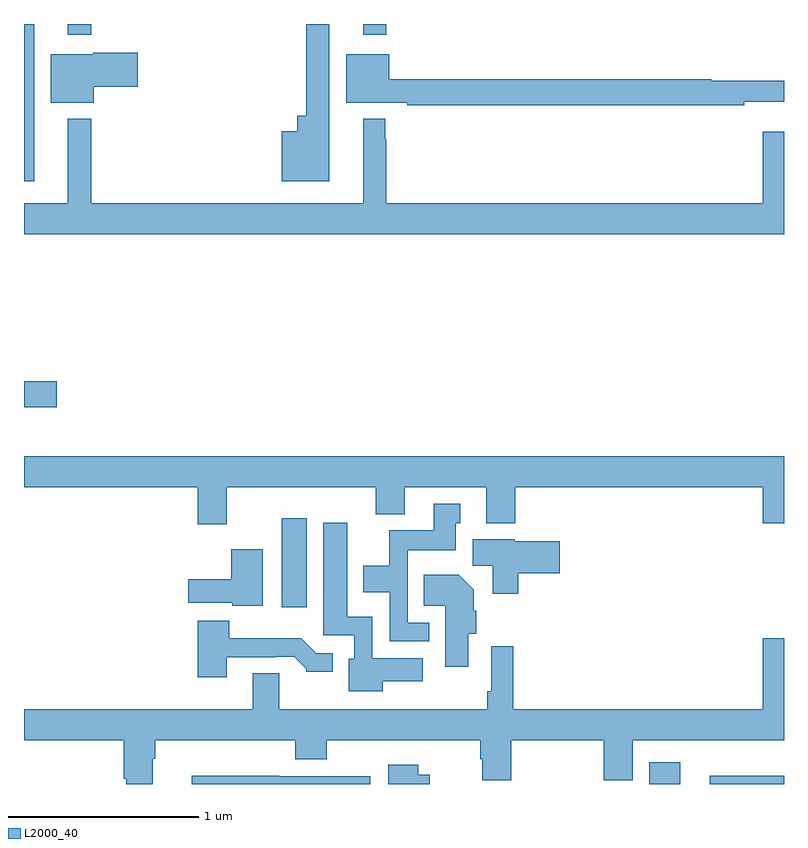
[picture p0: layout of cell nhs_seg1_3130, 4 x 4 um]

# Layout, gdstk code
import gdstk
lib = gdstk.Library(unit=1e-6, precision=1e-09)
def R(c, l, rs):  # rectangles x0, y0, x1, y1
    for r in rs: c.add(gdstk.rectangle(r[:2], r[2:], *l))
def P(c, l, *ps):  # polygons
    for p in ps: c.add(gdstk.Polygon(p, *l))
L2000_40 = (2000, 40)

nhs_seg1_3130 = lib.new_cell('nhs_seg1_3130')
R(nhs_seg1_3130, L2000_40, [(284.292,522.199,284.453,522.313), (284.61,522.199,285,522.242), (282.356,523.128,282.487,523.597), (281,524.183,281.173,524.318), (281,525.371,281.053,526.199), (281.231,526.143,281.353,526.199), (282.785,526.143,282.907,526.199)])
P(nhs_seg1_3130, L2000_40, [(282.607,526.199),(282.486,526.199),(282.486,525.715),(282.437,525.715),(282.437,525.634),(282.356,525.634),(282.356,525.371),(282.607,525.371)],
  [(281.368,525.869),(281.599,525.869),(281.599,526.047),(281.364,526.047),(281.364,526.039),(281.141,526.039),(281.141,525.785),(281.368,525.785)],
  [(284.792,525.791),(285,525.791),(285,525.901),(284.618,525.901),(284.618,525.908),(282.922,525.908),(282.922,526.039),(282.695,526.039),(282.695,525.785),(283.018,525.785),(283.018,525.772),(284.792,525.772)],
  [(285,525.631),(284.888,525.631),(284.888,525.256),(282.907,525.256),(282.907,525.593),(282.9,525.593),(282.9,525.7),(282.785,525.7),(282.785,525.256),(281.353,525.256),(281.353,525.7),(281.231,525.7),(281.231,525.256),(281,525.256),(281,525.092),(285,525.092)],
  [(282.067,523.76),(282.851,523.76),(282.851,523.619),(283.003,523.619),(283.003,523.76),(283.433,523.76),(283.433,523.571),(283.586,523.571),(283.586,523.76),(284.888,523.76),(284.888,523.572),(285,523.572),(285,523.924),(281,523.924),(281,523.76),(281.915,523.76),(281.915,523.566),(282.067,523.566)],
  [(283.132,523.047),(283.02,523.047),(283.02,523.43),(283.273,523.43),(283.273,523.572),(283.297,523.572),(283.297,523.675),(283.157,523.675),(283.157,523.534),(282.922,523.534),(282.922,523.348),(282.785,523.348),(282.785,523.208),(282.924,523.208),(282.924,522.951),(283.132,522.951)],
  [(282.887,522.74),(283.099,522.74),(283.099,522.862),(282.834,522.862),(282.834,523.078),(282.7,523.078),(282.7,523.573),(282.575,523.573),(282.575,522.981),(282.738,522.981),(282.738,522.858),(282.71,522.858),(282.71,522.686),(282.887,522.686)],
  [(283.601,523.307),(283.819,523.307),(283.819,523.477),(283.584,523.477),(283.584,523.486),(283.361,523.486),(283.361,523.348),(283.466,523.348),(283.466,523.2),(283.601,523.2)],
  [(282.256,523.435),(282.092,523.435),(282.092,523.276),(281.865,523.276),(281.865,523.154),(282.096,523.154),(282.096,523.136),(282.256,523.136)],
  [(283.339,522.99),(283.379,522.99),(283.379,523.112),(283.366,523.112),(283.366,523.222),(283.288,523.3),(283.105,523.3),(283.105,523.136),(283.217,523.136),(283.217,522.816),(283.339,522.816)],
  [(282.067,522.867),(282.323,522.867),(282.323,522.87),(282.422,522.87),(282.486,522.806),(282.486,522.791),(282.625,522.791),(282.625,522.888),(282.537,522.888),(282.459,522.967),(282.08,522.967),(282.08,523.057),(281.915,523.057),(281.915,522.762),(282.067,522.762)],
  [(281.677,522.332),(281.69,522.332),(281.69,522.428),(282.428,522.428),(282.428,522.329),(282.593,522.329),(282.593,522.428),(283.4,522.428),(283.4,522.33),(283.412,522.33),(283.412,522.22),(283.565,522.22),(283.565,522.428),(284.051,522.428),(284.051,522.22),(284.203,522.22),(284.203,522.428),(285,522.428),(285,522.967),(284.888,522.967),(284.888,522.592),(283.574,522.592),(283.574,522.925),(283.458,522.925),(283.458,522.688),(283.438,522.688),(283.438,522.592),(282.343,522.592),(282.343,522.782),(282.203,522.782),(282.203,522.592),(281,522.592),(281,522.428),(281.525,522.428),(281.525,522.226),(281.537,522.226),(281.537,522.199),(281.677,522.199)],
  [(283.136,522.249),(283.074,522.249),(283.074,522.301),(282.918,522.301),(282.918,522.199),(283.136,522.199)],
  [(282.822,522.24),(282.344,522.24),(282.344,522.242),(281.882,522.242),(281.882,522.199),(282.822,522.199)])

lib.write_gds('nhs_seg1_3130.gds')
